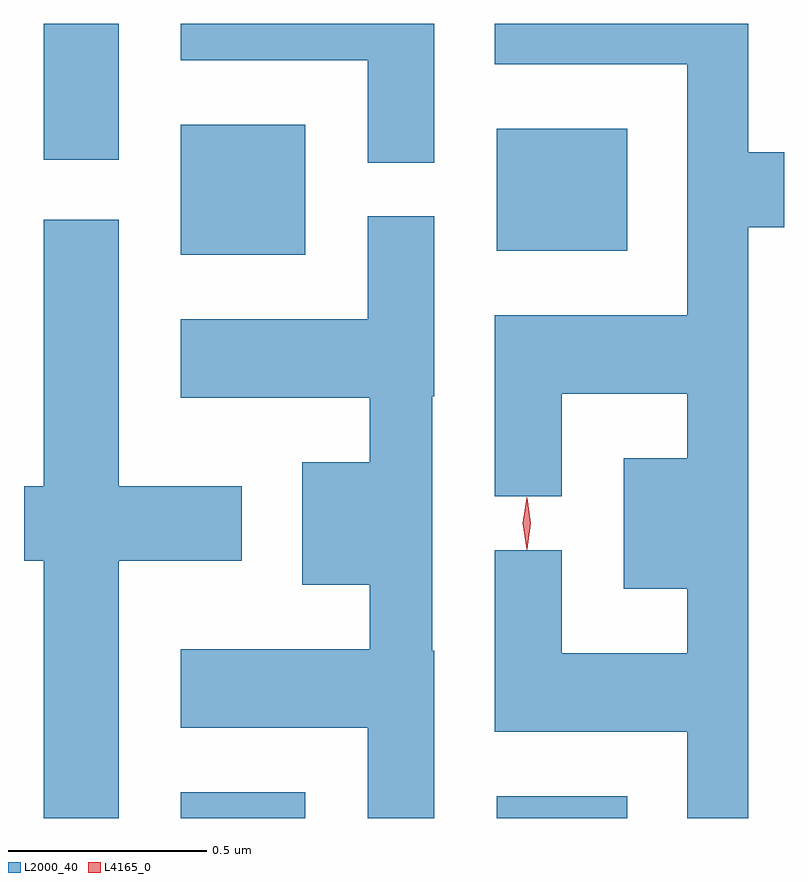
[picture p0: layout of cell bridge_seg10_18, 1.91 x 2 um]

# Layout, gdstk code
import gdstk
lib = gdstk.Library(unit=1e-6, precision=1e-09)
def R(c, l, rs):  # rectangles x0, y0, x1, y1
    for r in rs: c.add(gdstk.rectangle(r[:2], r[2:], *l))
def P(c, l, *ps):  # polygons
    for p in ps: c.add(gdstk.Polygon(p, *l))
L2000_40 = (2000, 40)
L4165_0 = (4165, 0)

bridge_seg10_18 = lib.new_cell('bridge_seg10_18')
R(bridge_seg10_18, L2000_40, [(1786.791,2154.988,1787.104,2155.054), (1787.586,2154.988,1787.914,2155.044), (1786.791,2156.406,1787.104,2156.734), (1787.586,2156.416,1787.914,2156.724), (1786.446,2156.646,1786.634,2156.988)])
P(bridge_seg10_18, L2000_40, [(1788.219,2156.476),(1788.309,2156.476),(1788.309,2156.664),(1788.219,2156.664),(1788.219,2156.988),(1787.581,2156.988),(1787.581,2156.886),(1788.066,2156.886),(1788.066,2156.254),(1787.581,2156.254),(1787.581,2155.798),(1787.749,2155.798),(1787.749,2156.056),(1788.066,2156.056),(1788.066,2155.894),(1787.906,2155.894),(1787.906,2155.566),(1788.066,2155.566),(1788.066,2155.404),(1787.749,2155.404),(1787.749,2155.663),(1787.581,2155.663),(1787.581,2155.206),(1788.066,2155.206),(1788.066,2154.988),(1788.219,2154.988)],
  [(1787.429,2156.988),(1786.791,2156.988),(1786.791,2156.896),(1787.261,2156.896),(1787.261,2156.638),(1787.429,2156.638)],
  [(1787.429,2155.41),(1787.424,2155.41),(1787.424,2156.05),(1787.429,2156.05),(1787.429,2156.503),(1787.261,2156.503),(1787.261,2156.244),(1786.791,2156.244),(1786.791,2156.046),(1787.266,2156.046),(1787.266,2155.884),(1787.096,2155.884),(1787.096,2155.576),(1787.266,2155.576),(1787.266,2155.414),(1786.791,2155.414),(1786.791,2155.216),(1787.261,2155.216),(1787.261,2154.988),(1787.429,2154.988)],
  [(1786.634,2155.636),(1786.944,2155.636),(1786.944,2155.824),(1786.634,2155.824),(1786.634,2156.494),(1786.446,2156.494),(1786.446,2155.824),(1786.396,2155.824),(1786.396,2155.636),(1786.446,2155.636),(1786.446,2154.988),(1786.634,2154.988)])
P(bridge_seg10_18, L4165_0, [(1787.662,2155.664),(1787.662,2155.665),(1787.652,2155.73),(1787.662,2155.795),(1787.662,2155.796),(1787.663,2155.795),(1787.672,2155.73),(1787.663,2155.665)],
  [(1787.662,2155.667),(1787.662,2155.668),(1787.652,2155.73),(1787.662,2155.792),(1787.662,2155.793),(1787.663,2155.792),(1787.672,2155.73),(1787.663,2155.668)])

lib.write_gds('bridge_seg10_18.gds')
